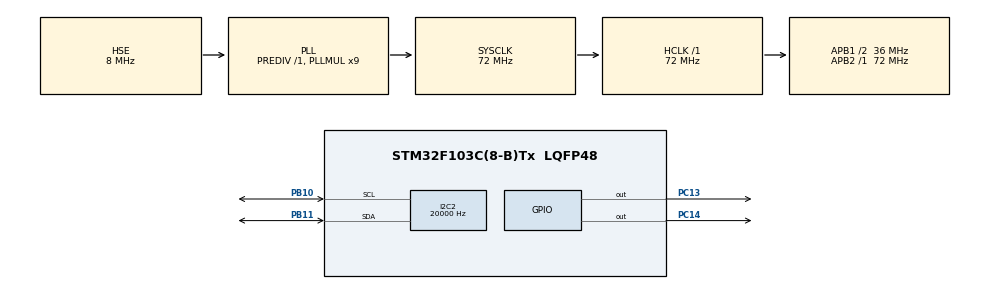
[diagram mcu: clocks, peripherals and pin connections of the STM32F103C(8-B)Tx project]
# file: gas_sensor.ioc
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I2C2.ClockSpeed=20000
Mcu.Family=STM32F1
Mcu.Name=STM32F103C(8-B)Tx
Mcu.Package=LQFP48
NVIC.PriorityGroup=NVIC_PRIORITYGROUP_4
PA13.Mode=Serial_Wire
PA13.Signal=SYS_JTMS-SWDIO
PA14.Mode=Serial_Wire
PA14.Signal=SYS_JTCK-SWCLK
PB10.Mode=I2C
PB10.Signal=I2C2_SCL
PB11.Mode=I2C
PB11.Signal=I2C2_SDA
PC13-TAMPER-RTC.Signal=GPIO_Output
PC14-OSC32_IN.Signal=GPIO_Output
PD0-OSC_IN.Mode=HSE-External-Oscillator
PD0-OSC_IN.Signal=RCC_OSC_IN
PD1-OSC_OUT.Mode=HSE-External-Oscillator
PD1-OSC_OUT.Signal=RCC_OSC_OUT
ProjectManager.HeapSize=0x200
ProjectManager.StackSize=0x400
ProjectManager.TargetToolchain=STM32CubeIDE
RCC.ADCPresc=RCC_ADCPCLK2_DIV6
RCC.AHBFreq_Value=72000000
RCC.APB1CLKDivider=RCC_HCLK_DIV2
RCC.APB1Freq_Value=36000000
RCC.APB1TimFreq_Value=72000000
RCC.APB2Freq_Value=72000000
RCC.APB2TimFreq_Value=72000000
RCC.HCLKFreq_Value=72000000
RCC.PLLMUL=RCC_PLL_MUL9
RCC.PLLSourceVirtual=RCC_PLLSOURCE_HSE
RCC.SYSCLKFreq_VALUE=72000000
RCC.SYSCLKSource=RCC_SYSCLKSOURCE_PLLCLK
RCC.USBFreq_Value=72000000
board=custom

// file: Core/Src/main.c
/* USER CODE BEGIN Header */
/**
  ******************************************************************************
  * @file           : main.c
  * @brief          : Main program body
  ******************************************************************************
  * @attention
  *
  * Copyright (c) 2025 STMicroelectronics.
  * All rights reserved.
  *
  * This software is licensed under terms that can be found in the LICENSE file
  * in the root directory of this software component.
  * If no LICENSE file comes with this software, it is provided AS-IS.
  *
  ******************************************************************************
  */
/* USER CODE END Header */
#include "main.h"

/* USER CODE BEGIN Includes */
#include "AGS10.h"
/* USER CODE END Includes */

/* USER CODE BEGIN PTD */
HAL_StatusTypeDef status;
AGS10_HandleTypeDef ags_sensor;
/* USER CODE END PTD */

I2C_HandleTypeDef hi2c2;

/* USER CODE BEGIN PV */
uint32_t gas_resistance = 0;
uint32_t tvoc = 0;
uint32_t firmware_version = 0;
uint8_t sensor_initialized = 0;

/* USER CODE END PV */

void SystemClock_Config(void);
static void MX_GPIO_Init(void);
static void MX_I2C2_Init(void);

int main(void)
{

  /* MCU Configuration--------------------------------------------------------*/

  /* Reset of all peripherals, Initializes the Flash interface and the Systick. */

	HAL_Init();

  /* USER CODE BEGIN Init */
  if (ags10_init(&ags_sensor, &hi2c2, AGS10_I2C_ADDR_DEFAULT)) {
          sensor_initialized = 1;
      } else {
          sensor_initialized = 0;
          while (1); // Halt execution if sensor init fails
      }

      if (ags10_get_firmware_version(&ags_sensor, &firmware_version)) {
          sensor_initialized = 2;  // Mark as fully initialized
      } else {
          //while (1); // Halt if firmware read fails
      }

  /* USER CODE END Init */

  /* Configure the system clock */
  SystemClock_Config();

  /* Initialize all configured peripherals */
  MX_GPIO_Init();
  MX_I2C2_Init();

  /* Infinite loop */
  while (1)
  {

    /* USER CODE BEGIN 3 */
	  if (!ags10_get_gas_resistance(&ags_sensor, &gas_resistance))
	  {
		  gas_resistance = 0xFFFFFFFF; // Indicate error
	  }

	  if (!ags10_get_tvoc(&ags_sensor, &tvoc))
	  {
		  tvoc = 0xFFFFFFFF; // Indicate error
	  }

  }
  /* USER CODE END 3 */
}

void SystemClock_Config(void)
{
  RCC_OscInitTypeDef RCC_OscInitStruct = {0};
  RCC_ClkInitTypeDef RCC_ClkInitStruct = {0};

  /** Initializes the RCC Oscillators according to the specified parameters
  * in the RCC_OscInitTypeDef structure.
  */
  RCC_OscInitStruct.OscillatorType = RCC_OSCILLATORTYPE_HSE;
  RCC_OscInitStruct.HSEState = RCC_HSE_ON;
  RCC_OscInitStruct.HSEPredivValue = RCC_HSE_PREDIV_DIV1;
  RCC_OscInitStruct.HSIState = RCC_HSI_ON;
  RCC_OscInitStruct.PLL.PLLState = RCC_PLL_ON;
  RCC_OscInitStruct.PLL.PLLSource = RCC_PLLSOURCE_HSE;
  RCC_OscInitStruct.PLL.PLLMUL = RCC_PLL_MUL9;
  if (HAL_RCC_OscConfig(&RCC_OscInitStruct) != HAL_OK)
  {
    Error_Handler();
  }

  /** Initializes the CPU, AHB and APB buses clocks
  */
  RCC_ClkInitStruct.ClockType = RCC_CLOCKTYPE_HCLK|RCC_CLOCKTYPE_SYSCLK
                              |RCC_CLOCKTYPE_PCLK1|RCC_CLOCKTYPE_PCLK2;
  RCC_ClkInitStruct.SYSCLKSource = RCC_SYSCLKSOURCE_PLLCLK;
  RCC_ClkInitStruct.AHBCLKDivider = RCC_SYSCLK_DIV1;
  RCC_ClkInitStruct.APB1CLKDivider = RCC_HCLK_DIV2;
  RCC_ClkInitStruct.APB2CLKDivider = RCC_HCLK_DIV1;

  if (HAL_RCC_ClockConfig(&RCC_ClkInitStruct, FLASH_LATENCY_2) != HAL_OK)
  {
    Error_Handler();
  }
}

static void MX_I2C2_Init(void)
{

  hi2c2.Instance = I2C2;
  hi2c2.Init.ClockSpeed = 20000;
  hi2c2.Init.DutyCycle = I2C_DUTYCYCLE_2;
  hi2c2.Init.OwnAddress1 = 0;
  hi2c2.Init.AddressingMode = I2C_ADDRESSINGMODE_7BIT;
  hi2c2.Init.DualAddressMode = I2C_DUALADDRESS_DISABLE;
  hi2c2.Init.OwnAddress2 = 0;
  hi2c2.Init.GeneralCallMode = I2C_GENERALCALL_DISABLE;
  hi2c2.Init.NoStretchMode = I2C_NOSTRETCH_DISABLE;
  if (HAL_I2C_Init(&hi2c2) != HAL_OK)
  {
    Error_Handler();
  }

}

static void MX_GPIO_Init(void)
{
  GPIO_InitTypeDef GPIO_InitStruct = {0};

  /* GPIO Ports Clock Enable */
  __HAL_RCC_GPIOC_CLK_ENABLE();
  __HAL_RCC_GPIOD_CLK_ENABLE();
  __HAL_RCC_GPIOB_CLK_ENABLE();
  __HAL_RCC_GPIOA_CLK_ENABLE();

  /*Configure GPIO pin Output Level */
  HAL_GPIO_WritePin(GPIOC, GPIO_PIN_13|GPIO_PIN_14, GPIO_PIN_RESET);

  /*Configure GPIO pins : PC13 PC14 */
  GPIO_InitStruct.Pin = GPIO_PIN_13|GPIO_PIN_14;
  GPIO_InitStruct.Mode = GPIO_MODE_OUTPUT_PP;
  GPIO_InitStruct.Pull = GPIO_NOPULL;
  GPIO_InitStruct.Speed = GPIO_SPEED_FREQ_LOW;
  HAL_GPIO_Init(GPIOC, &GPIO_InitStruct);

}

void Error_Handler(void)
{
  __disable_irq();
  while (1)
  {
  }
}
